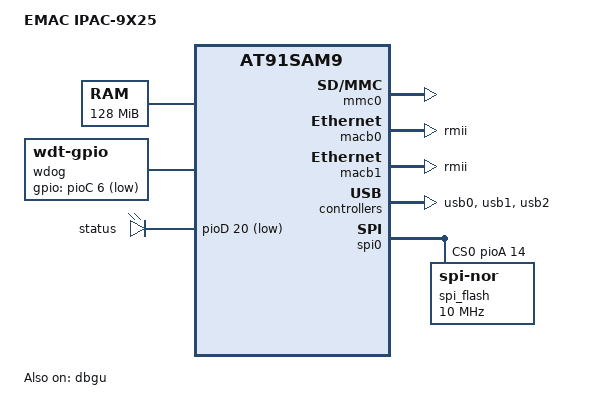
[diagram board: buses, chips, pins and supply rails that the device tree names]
/*
 * ipac-9x25.dts - Device Tree file for the iPac-9x25.
 *
 *  Copyright (C) 2014 EMAC Inc.
 *
 * Licensed under GPLv2 or later.
 */
/dts-v1/;
#include "at91sam9x25.dtsi"

/ {
	model = "EMAC IPAC-9X25";
	compatible = "atmel,at91sam9x25ek", "atmel,at91sam9x5ek", "atmel,at91sam9x5", "atmel,at91sam9";

	aliases {
		serial0 = &usart3;
		serial1 = &usart0;
		serial3 = &uart0;
		serial5 = &dbgu;
		spi0 = &spi0;
		spi1 = &spi1;
	};

	chosen {
		bootargs = "root=/dev/mmcblk0p1 rootfstype=ext4 rw rootwait";
		stdout-path = "serial5:115200n8";
		u-boot,dm-pre-reloc;
	};

	memory@20000000 {
		reg = <0x20000000 0x8000000>;
	};

	clocks {
		#address-cells = <1>;
		#size-cells = <1>;
		ranges;

		slow_xtal {
			clock-frequency = <32768>;
		};

		main_xtal {
			clock-frequency = <12000000>;
		};
	};
	
	wdog: watchdog {
		/* MAX6747 */
		compatible = "linux,wdt-gpio";
		pinctrl-names = "default";
		pinctrl-0 = <&pinctrl_wdt>;
		gpios = <&pioC 6 GPIO_ACTIVE_LOW>;
		hw_algo = "toggle";
		always-running;
		hw_margin_ms = <1000>;
	};

	ahb {
		apb {
			pinctrl@fffff400 {
				pinctrl-names = "default";
				pinctrl-0 = <
					&pinctrl_board_gpio
					&pinctrl_phy_clk_en_gpio
				>;

				gpio {
					pinctrl_board_gpio: gpio0-board {
						atmel,pins =
							<AT91_PIOD 0 AT91_PERIPH_GPIO AT91_PINCTRL_PULL_UP
							 AT91_PIOD 1 AT91_PERIPH_GPIO AT91_PINCTRL_PULL_UP
							 AT91_PIOD 2 AT91_PERIPH_GPIO AT91_PINCTRL_PULL_UP
							 AT91_PIOD 3 AT91_PERIPH_GPIO AT91_PINCTRL_PULL_UP
							 AT91_PIOD 4 AT91_PERIPH_GPIO AT91_PINCTRL_PULL_UP
							 AT91_PIOD 5 AT91_PERIPH_GPIO AT91_PINCTRL_PULL_UP
							 AT91_PIOD 6 AT91_PERIPH_GPIO AT91_PINCTRL_PULL_UP
							 AT91_PIOD 7 AT91_PERIPH_GPIO AT91_PINCTRL_PULL_UP
							 AT91_PIOD 8 AT91_PERIPH_GPIO AT91_PINCTRL_PULL_UP
							 AT91_PIOD 9 AT91_PERIPH_GPIO AT91_PINCTRL_PULL_UP
							 AT91_PIOD 10 AT91_PERIPH_GPIO AT91_PINCTRL_PULL_UP
							 AT91_PIOD 11 AT91_PERIPH_GPIO AT91_PINCTRL_PULL_UP
							 AT91_PIOD 12 AT91_PERIPH_GPIO AT91_PINCTRL_PULL_UP
							 AT91_PIOD 13 AT91_PERIPH_GPIO AT91_PINCTRL_PULL_UP
							 AT91_PIOD 14 AT91_PERIPH_GPIO AT91_PINCTRL_PULL_UP
							 AT91_PIOD 15 AT91_PERIPH_GPIO AT91_PINCTRL_PULL_UP
							 AT91_PIOD 16 AT91_PERIPH_GPIO AT91_PINCTRL_PULL_UP
							 AT91_PIOD 17 AT91_PERIPH_GPIO AT91_PINCTRL_PULL_UP
							 AT91_PIOD 18 AT91_PERIPH_GPIO AT91_PINCTRL_PULL_UP
							 AT91_PIOD 19 AT91_PERIPH_GPIO AT91_PINCTRL_PULL_UP
							 AT91_PIOD 20 AT91_PERIPH_GPIO AT91_PINCTRL_PULL_UP
							 AT91_PIOD 21 AT91_PERIPH_GPIO AT91_PINCTRL_PULL_UP>;
					};
				};

				spi0 {
					pinctrl_spi0_cs: spi0-board {
						atmel,pins =
							<AT91_PIOA 14 AT91_PERIPH_GPIO AT91_PINCTRL_PULL_UP>;
					};
				};

				wdt_gpio {
					pinctrl_wdt: wdt-board {
						atmel,pins =
							<AT91_PIOC 6 AT91_PERIPH_GPIO AT91_PINCTRL_PULL_UP
							 AT91_PIOC 7 AT91_PERIPH_GPIO AT91_PINCTRL_PULL_UP>;
					};
				};

				led_gpio {
					pinctrl_led: led-board {
						atmel,pins =
							<AT91_PIOD 20 AT91_PERIPH_GPIO AT91_PINCTRL_PULL_DOWN>;
					};
				};
				phy_clk_en_gpio {
					pinctrl_phy_clk_en_gpio: phy-clk-board {
						atmel,pins =
							<AT91_PIOC 12 AT91_PERIPH_GPIO AT91_PINCTRL_PULL_UP>;
					};
				};
			};

			rtc@fffffeb0 {
				status = "okay";
			};
		};
	};

	gpio-leds {
		compatible = "gpio-leds";
		pinctrl-names = "default";
		pinctrl-0 = <&pinctrl_led>;
		led-stat {
			label = "status";
			gpios = <&pioD 20 1>;
			default-state = "on";
			linux,default-trigger = "none";
		};
	};
};

&mmc0 {
	pinctrl-names = "default";
	pinctrl-0 = <
		&pinctrl_mmc0_slot0_clk_cmd_dat0
		&pinctrl_mmc0_slot0_dat1_3>;
	status = "okay";
	slot@0 {
		reg = <0>;
		bus-width = <4>;
	};
};

&macb0 {
	phy-mode = "rmii";
	status = "okay";
};

&macb1 {
	phy-mode = "rmii";
	status = "okay";
};

&usb0 {
	num-ports = <3>;
	status = "okay";
};

&usb1 {
	status = "okay";
};

&usb2 {
	status = "okay";
};

&spi0 {
	status = "okay";
	pinctrl-names = "default";
	pinctrl-0 = <&pinctrl_spi0 &pinctrl_spi0_cs>;
	num-cs = <1>;
	cs-gpios = <&pioA 14 0>;
	spi_flash: spi_flash@0 {
		compatible = "jedec,spi-nor";
		spi-max-frequency = <10000000>;
		reg = <0>;
	};
};

&dbgu {
	u-boot,dm-pre-reloc;
	status = "okay";
};
